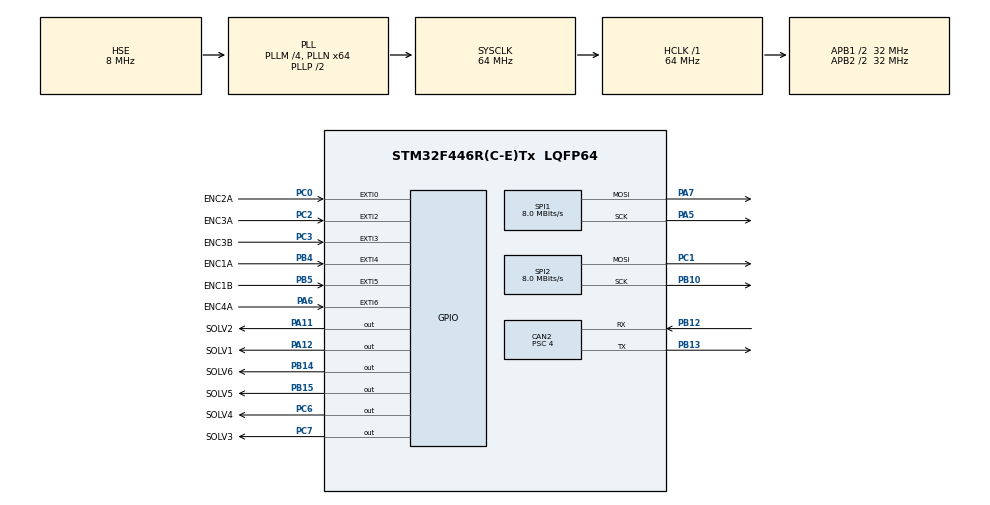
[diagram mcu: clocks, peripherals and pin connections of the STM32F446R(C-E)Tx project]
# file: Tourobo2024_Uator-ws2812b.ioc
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CAN2.BS1=CAN_BS1_11TQ
CAN2.BS2=CAN_BS2_4TQ
CAN2.CalculateBaudRate=500000
CAN2.CalculateTimeBit=2000
CAN2.CalculateTimeQuantum=125.0
CAN2.Prescaler=4
CAN2.SJW=CAN_SJW_1TQ
Mcu.Family=STM32F4
Mcu.Name=STM32F446R(C-E)Tx
Mcu.Package=LQFP64
NVIC.CAN2_RX0_IRQn=true\:0\:0\:false\:false\:true\:true\:true\:true
NVIC.EXTI0_IRQn=true\:1\:0\:true\:false\:true\:true\:true\:true
NVIC.EXTI2_IRQn=true\:1\:0\:true\:false\:true\:true\:true\:true
NVIC.EXTI3_IRQn=true\:1\:0\:true\:false\:true\:true\:true\:true
NVIC.EXTI4_IRQn=true\:1\:0\:true\:false\:true\:true\:true\:true
NVIC.EXTI9_5_IRQn=true\:1\:0\:true\:false\:true\:true\:true\:true
NVIC.PriorityGroup=NVIC_PRIORITYGROUP_4
PA11.GPIO_Label=SOLV2
PA11.Signal=GPIO_Output
PA12.GPIO_Label=SOLV1
PA12.Signal=GPIO_Output
PA13.Mode=Serial_Wire
PA13.Signal=SYS_JTMS-SWDIO
PA14.Mode=Serial_Wire
PA14.Signal=SYS_JTCK-SWCLK
PA5.Mode=TX_Only_Simplex_Unidirect_Master
PA5.Signal=SPI1_SCK
PA6.GPIO_Label=ENC4A
PA6.GPIO_ModeDefaultEXTI=GPIO_MODE_IT_RISING_FALLING
PA6.Signal=GPXTI6
PA7.Mode=TX_Only_Simplex_Unidirect_Master
PA7.Signal=SPI1_MOSI
PB10.Mode=TX_Only_Simplex_Unidirect_Master
PB10.Signal=SPI2_SCK
PB12.Mode=CAN_Activate
PB12.Signal=CAN2_RX
PB13.Mode=CAN_Activate
PB13.Signal=CAN2_TX
PB14.GPIO_Label=SOLV6
PB14.Signal=GPIO_Output
PB15.GPIO_Label=SOLV5
PB15.Signal=GPIO_Output
PB4.GPIO_Label=ENC1A
PB4.GPIO_ModeDefaultEXTI=GPIO_MODE_IT_RISING_FALLING
PB4.Signal=GPXTI4
PB5.GPIO_Label=ENC1B
PB5.GPIO_ModeDefaultEXTI=GPIO_MODE_IT_RISING_FALLING
PB5.Signal=GPXTI5
PC0.GPIO_Label=ENC2A
PC0.GPIO_ModeDefaultEXTI=GPIO_MODE_IT_RISING_FALLING
PC0.Signal=GPXTI0
PC1.Mode=TX_Only_Simplex_Unidirect_Master
PC1.Signal=SPI2_MOSI
PC2.GPIO_Label=ENC3A
PC2.GPIO_ModeDefaultEXTI=GPIO_MODE_IT_RISING_FALLING
PC2.Signal=GPXTI2
PC3.GPIO_Label=ENC3B
PC3.GPIO_ModeDefaultEXTI=GPIO_MODE_IT_RISING_FALLING
PC3.Signal=GPXTI3
PC6.GPIO_Label=SOLV4
PC6.Signal=GPIO_Output
PC7.GPIO_Label=SOLV3
PC7.Signal=GPIO_Output
PH0-OSC_IN.Mode=HSE-External-Clock-Source
PH0-OSC_IN.Signal=RCC_OSC_IN
PH1-OSC_OUT.Mode=HSE-External-Clock-Source
PH1-OSC_OUT.Signal=RCC_OSC_OUT
ProjectManager.HeapSize=0x200
ProjectManager.StackSize=0x400
ProjectManager.TargetToolchain=STM32CubeIDE
RCC.AHBFreq_Value=64000000
RCC.APB1CLKDivider=RCC_HCLK_DIV2
RCC.APB1Freq_Value=32000000
RCC.APB1TimFreq_Value=64000000
RCC.APB2CLKDivider=RCC_HCLK_DIV2
RCC.APB2Freq_Value=32000000
RCC.APB2TimFreq_Value=64000000
RCC.CortexFreq_Value=64000000
RCC.HCLKFreq_Value=64000000
RCC.HSE_VALUE=8000000
RCC.PLLM=4
RCC.PLLN=64
RCC.PLLSourceVirtual=RCC_PLLSOURCE_HSE
RCC.SYSCLKFreq_VALUE=64000000
RCC.SYSCLKSource=RCC_SYSCLKSOURCE_PLLCLK
RCC.USBFreq_Value=64000000
RCC.VCOOutputFreq_Value=128000000
SPI1.BaudRatePrescaler=SPI_BAUDRATEPRESCALER_4
SPI1.CalculateBaudRate=8.0 MBits/s
SPI1.Direction=SPI_DIRECTION_2LINES
SPI1.Mode=SPI_MODE_MASTER
SPI1.VirtualType=VM_MASTER
SPI2.BaudRatePrescaler=SPI_BAUDRATEPRESCALER_4
SPI2.CalculateBaudRate=8.0 MBits/s
SPI2.Direction=SPI_DIRECTION_2LINES
SPI2.Mode=SPI_MODE_MASTER
SPI2.VirtualType=VM_MASTER
TIM7.Period=1000-1
TIM7.Prescaler=32-1
VP_TIM7_VS_ClockSourceINT.Mode=Enable_Timer
board=custom

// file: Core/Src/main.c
/* USER CODE BEGIN Header */
/**LedUator用のプログラ?��?
 * 2024/09/03?��?新パンタ仕様に変更
 * 2024/09/05 パンタの縮伸,LEDのみを制御するように変更
  ******************************************************************************
  * @file           : main.c
  * @brief          : Main program body
  ******************************************************************************
  * @attention
  *
  * Copyright (c) 2024 STMicroelectronics.
  * All rights reserved.
  *
  * This software is licensed under terms that can be found in the LICENSE file
  * in the root directory of this software component.
  * If no LICENSE file comes with this software, it is provided AS-IS.
  *
  ******************************************************************************
  */
/* USER CODE END Header */
#include "main.h"

/* USER CODE BEGIN PD */
#define LED_NUMBER 150
#define GREEN_LED_NUMBER 50
/* USER CODE END PD */

CAN_HandleTypeDef hcan2;

SPI_HandleTypeDef hspi1;
SPI_HandleTypeDef hspi2;

TIM_HandleTypeDef htim7;

/* USER CODE BEGIN PV */
//for can
uint32_t id;
uint32_t dlc;
uint8_t data[8];
uint8_t failure = 0;

////for solenoid
//uint8_t solenoid[6] = {};

//fot panta
uint8_t panta_expand=0;
uint8_t panta_dunk=0;

//for LED
uint8_t LED_Data[3] = {};
uint32_t color;
uint32_t color_1;
uint32_t color_2;
uint32_t red = 0 << 16 | 140 << 8 | 0;
uint32_t orange = 9 << 16 | 140 << 8 | 0;
uint32_t yellow = 140 << 16 | 140 << 8 | 0;
uint32_t green = 140 << 16 | 0 << 8 | 0;
uint32_t light_blue =  140 << 16 | 0 << 8 | 140;
uint32_t blue = 0 << 16 | 0 << 8 | 140;
uint32_t purple = 0 << 16 | 140 << 8 | 140;
uint32_t white = 140 << 16 | 140 << 8 | 140;
uint32_t black = 0 << 16 | 0 << 8 | 0;
uint8_t bicolorData[24*LED_NUMBER];
uint8_t rainbowData[24*LED_NUMBER];
//for solenoid
GPIO_TypeDef* solv_ports[6] = {SOLV1_GPIO_Port, SOLV2_GPIO_Port, SOLV3_GPIO_Port, SOLV4_GPIO_Port, SOLV5_GPIO_Port, SOLV6_GPIO_Port};
uint16_t solv_pins[6] = {SOLV1_Pin, SOLV2_Pin, SOLV3_Pin, SOLV4_Pin, SOLV5_Pin, SOLV6_Pin};
/* USER CODE END PV */

void SystemClock_Config(void);
static void MX_GPIO_Init(void);
static void MX_CAN2_Init(void);
static void MX_SPI2_Init(void);
static void MX_SPI1_Init(void);
static void MX_TIM7_Init(void);
/* USER CODE BEGIN PFP */
void wait_290us(void);
void wait_50ms(void);
void ws2812b_send(void);
void ws2812b_send_green (void);
void ws2812b_bicolor(void);
void ws2812b_rainbow(void);
void rainbow_flow();
/* USER CODE END PFP */

/* USER CODE BEGIN 0 */
void HAL_CAN_RxFifo0MsgPendingCallback(CAN_HandleTypeDef *hcan) {

	if(hcan == &hcan2){
		CAN_RxHeaderTypeDef RxHeader;
		uint8_t RxData[2];
		if (HAL_CAN_GetRxMessage(hcan, CAN_RX_FIFO0, &RxHeader, RxData) == HAL_OK) {

			id = (RxHeader.IDE == CAN_ID_STD) ? RxHeader.StdId : RxHeader.ExtId;   // ID
			dlc = RxHeader.DLC;                                                   // DLC
			data[0] = RxData[0];                                                 // Data
			data[1] = RxData[1];

			panta_expand  =  data[0];//0 or 1

			if(panta_expand==0){
				HAL_GPIO_WritePin(solv_ports[0],solv_pins[0],GPIO_PIN_RESET);//panta off
			}else{
				HAL_GPIO_WritePin(solv_ports[0],solv_pins[0],GPIO_PIN_SET);//panta on
			}

		}
	}
}

/* USER CODE END 0 */

int main(void)
{

  /* MCU Configuration--------------------------------------------------------*/

  /* Reset of all peripherals, Initializes the Flash interface and the Systick. */
  HAL_Init();

  /* Configure the system clock */
  SystemClock_Config();

  /* Initialize all configured peripherals */
  MX_GPIO_Init();
  MX_CAN2_Init();
  MX_SPI2_Init();
  MX_SPI1_Init();
  MX_TIM7_Init();
  /* USER CODE BEGIN 2 */
  //TIM
  HAL_TIM_Base_Start(&htim7);
  //CAN
  HAL_CAN_Start(&hcan2);
  HAL_CAN_ActivateNotification(&hcan2, CAN_IT_RX_FIFO0_MSG_PENDING);

  CAN_FilterTypeDef filter;
  uint32_t fId   =  0x200 << 21;        // フィルターID
  uint32_t fMask = (0x7F0 << 21) | 0x4; // フィルターマスク

  filter.FilterIdHigh         = fId >> 16;             // フィルターIDの上�?16ビッ????��?��??��?��???��?��??��?��?
  filter.FilterIdLow          = fId;                   // フィルターIDの下�?16ビッ????��?��??��?��???��?��??��?��?
  filter.FilterMaskIdHigh     = fMask >> 16;           // フィルターマスクの上�?16ビッ????��?��??��?��???��?��??��?��?
  filter.FilterMaskIdLow      = fMask;                 // フィルターマスクの下�?16ビッ????��?��??��?��???��?��??��?��?
  filter.FilterScale          = CAN_FILTERSCALE_32BIT; // 32モー????��?��??��?��???��?��??��?��?
  filter.FilterFIFOAssignment = CAN_FILTER_FIFO0;      // FIFO0へ格????��?��??��?��???��?��??��?��?
  filter.FilterBank           = 0;
  filter.FilterMode           = CAN_FILTERMODE_IDMASK; // IDマスクモー????��?��??��?��???��?��??��?��?
  filter.SlaveStartFilterBank = 0;
  filter.FilterActivation     = ENABLE;

  HAL_CAN_ConfigFilter(&hcan2, &filter);

  /* USER CODE END 2 */

  /* Infinite loop */
  /* USER CODE BEGIN WHILE */
  while (1)
  {
	  ws2812b_send_green ();

	  for(int i=0; i<10; i++){
		switch(data[1]){

		case 0:
			color_1 = red;
			color_2 = black;
			ws2812b_bicolor();
			break;

		case 1:
			color_1 = orange;
			color_2 = black;
			ws2812b_bicolor();
			break;

		case 2:
			color_1 = yellow;
			color_2 = black;
			ws2812b_bicolor();
			break;

		case 3:
			color = green;
			color_2 = black;
			ws2812b_bicolor();
			break;

		case 4:
			color_1 = light_blue;
			color_2 = black;
			ws2812b_bicolor();
			break;

		case 5:
			color_1 = red;
			color_2 = blue;
			ws2812b_bicolor();
			break;

		case 6:
			color_1 = orange;
			color_2 = light_blue;
			ws2812b_bicolor();
			break;

		case 7:
			color_1 = blue;
			color_2 = black;
			ws2812b_bicolor();
			break;

		case 8:
			color_1 = purple;
			color_2 = black;
			ws2812b_bicolor();
			break;

		case 9:
			color_1 = white;
			color_2 = black;
			ws2812b_bicolor();
			break;

		case 10:
			ws2812b_rainbow();
			break;

		case 11:
			rainbow_flow();
			break;

		}
	}

    /* USER CODE END WHILE */

  }
}

void SystemClock_Config(void)
{
  RCC_OscInitTypeDef RCC_OscInitStruct = {0};
  RCC_ClkInitTypeDef RCC_ClkInitStruct = {0};

  /** Configure the main internal regulator output voltage
  */
  __HAL_RCC_PWR_CLK_ENABLE();
  __HAL_PWR_VOLTAGESCALING_CONFIG(PWR_REGULATOR_VOLTAGE_SCALE3);

  /** Initializes the RCC Oscillators according to the specified parameters
  * in the RCC_OscInitTypeDef structure.
  */
  RCC_OscInitStruct.OscillatorType = RCC_OSCILLATORTYPE_HSE;
  RCC_OscInitStruct.HSEState = RCC_HSE_BYPASS;
  RCC_OscInitStruct.PLL.PLLState = RCC_PLL_ON;
  RCC_OscInitStruct.PLL.PLLSource = RCC_PLLSOURCE_HSE;
  RCC_OscInitStruct.PLL.PLLM = 4;
  RCC_OscInitStruct.PLL.PLLN = 64;
  RCC_OscInitStruct.PLL.PLLP = RCC_PLLP_DIV2;
  RCC_OscInitStruct.PLL.PLLQ = 2;
  RCC_OscInitStruct.PLL.PLLR = 2;
  if (HAL_RCC_OscConfig(&RCC_OscInitStruct) != HAL_OK)
  {
    Error_Handler();
  }

  /** Initializes the CPU, AHB and APB buses clocks
  */
  RCC_ClkInitStruct.ClockType = RCC_CLOCKTYPE_HCLK|RCC_CLOCKTYPE_SYSCLK
                              |RCC_CLOCKTYPE_PCLK1|RCC_CLOCKTYPE_PCLK2;
  RCC_ClkInitStruct.SYSCLKSource = RCC_SYSCLKSOURCE_PLLCLK;
  RCC_ClkInitStruct.AHBCLKDivider = RCC_SYSCLK_DIV1;
  RCC_ClkInitStruct.APB1CLKDivider = RCC_HCLK_DIV2;
  RCC_ClkInitStruct.APB2CLKDivider = RCC_HCLK_DIV2;

  if (HAL_RCC_ClockConfig(&RCC_ClkInitStruct, FLASH_LATENCY_2) != HAL_OK)
  {
    Error_Handler();
  }
}

static void MX_CAN2_Init(void)
{

  hcan2.Instance = CAN2;
  hcan2.Init.Prescaler = 4;
  hcan2.Init.Mode = CAN_MODE_NORMAL;
  hcan2.Init.SyncJumpWidth = CAN_SJW_1TQ;
  hcan2.Init.TimeSeg1 = CAN_BS1_11TQ;
  hcan2.Init.TimeSeg2 = CAN_BS2_4TQ;
  hcan2.Init.TimeTriggeredMode = DISABLE;
  hcan2.Init.AutoBusOff = DISABLE;
  hcan2.Init.AutoWakeUp = DISABLE;
  hcan2.Init.AutoRetransmission = DISABLE;
  hcan2.Init.ReceiveFifoLocked = DISABLE;
  hcan2.Init.TransmitFifoPriority = DISABLE;
  if (HAL_CAN_Init(&hcan2) != HAL_OK)
  {
    Error_Handler();
  }

}

static void MX_SPI1_Init(void)
{

  /* SPI1 parameter configuration*/
  hspi1.Instance = SPI1;
  hspi1.Init.Mode = SPI_MODE_MASTER;
  hspi1.Init.Direction = SPI_DIRECTION_2LINES;
  hspi1.Init.DataSize = SPI_DATASIZE_8BIT;
  hspi1.Init.CLKPolarity = SPI_POLARITY_LOW;
  hspi1.Init.CLKPhase = SPI_PHASE_1EDGE;
  hspi1.Init.NSS = SPI_NSS_SOFT;
  hspi1.Init.BaudRatePrescaler = SPI_BAUDRATEPRESCALER_4;
  hspi1.Init.FirstBit = SPI_FIRSTBIT_MSB;
  hspi1.Init.TIMode = SPI_TIMODE_DISABLE;
  hspi1.Init.CRCCalculation = SPI_CRCCALCULATION_DISABLE;
  hspi1.Init.CRCPolynomial = 10;
  if (HAL_SPI_Init(&hspi1) != HAL_OK)
  {
    Error_Handler();
  }

}

static void MX_SPI2_Init(void)
{

  /* SPI2 parameter configuration*/
  hspi2.Instance = SPI2;
  hspi2.Init.Mode = SPI_MODE_MASTER;
  hspi2.Init.Direction = SPI_DIRECTION_2LINES;
  hspi2.Init.DataSize = SPI_DATASIZE_8BIT;
  hspi2.Init.CLKPolarity = SPI_POLARITY_LOW;
  hspi2.Init.CLKPhase = SPI_PHASE_1EDGE;
  hspi2.Init.NSS = SPI_NSS_SOFT;
  hspi2.Init.BaudRatePrescaler = SPI_BAUDRATEPRESCALER_4;
  hspi2.Init.FirstBit = SPI_FIRSTBIT_MSB;
  hspi2.Init.TIMode = SPI_TIMODE_DISABLE;
  hspi2.Init.CRCCalculation = SPI_CRCCALCULATION_DISABLE;
  hspi2.Init.CRCPolynomial = 10;
  if (HAL_SPI_Init(&hspi2) != HAL_OK)
  {
    Error_Handler();
  }

}

static void MX_TIM7_Init(void)
{

  TIM_MasterConfigTypeDef sMasterConfig = {0};

  htim7.Instance = TIM7;
  htim7.Init.Prescaler = 32-1;
  htim7.Init.CounterMode = TIM_COUNTERMODE_UP;
  htim7.Init.Period = 1000-1;
  htim7.Init.AutoReloadPreload = TIM_AUTORELOAD_PRELOAD_DISABLE;
  if (HAL_TIM_Base_Init(&htim7) != HAL_OK)
  {
    Error_Handler();
  }
  sMasterConfig.MasterOutputTrigger = TIM_TRGO_RESET;
  sMasterConfig.MasterSlaveMode = TIM_MASTERSLAVEMODE_DISABLE;
  if (HAL_TIMEx_MasterConfigSynchronization(&htim7, &sMasterConfig) != HAL_OK)
  {
    Error_Handler();
  }

}

static void MX_GPIO_Init(void)
{
  GPIO_InitTypeDef GPIO_InitStruct = {0};

  /* GPIO Ports Clock Enable */
  __HAL_RCC_GPIOH_CLK_ENABLE();
  __HAL_RCC_GPIOC_CLK_ENABLE();
  __HAL_RCC_GPIOA_CLK_ENABLE();
  __HAL_RCC_GPIOB_CLK_ENABLE();

  /*Configure GPIO pin Output Level */
  HAL_GPIO_WritePin(GPIOB, SOLV6_Pin|SOLV5_Pin, GPIO_PIN_RESET);

  /*Configure GPIO pin Output Level */
  HAL_GPIO_WritePin(GPIOC, SOLV4_Pin|SOLV3_Pin, GPIO_PIN_RESET);

  /*Configure GPIO pin Output Level */
  HAL_GPIO_WritePin(GPIOA, SOLV2_Pin|SOLV1_Pin, GPIO_PIN_RESET);

  /*Configure GPIO pins : ENC2A_Pin ENC3A_Pin ENC3B_Pin */
  GPIO_InitStruct.Pin = ENC2A_Pin|ENC3A_Pin|ENC3B_Pin;
  GPIO_InitStruct.Mode = GPIO_MODE_IT_RISING_FALLING;
  GPIO_InitStruct.Pull = GPIO_NOPULL;
  HAL_GPIO_Init(GPIOC, &GPIO_InitStruct);

  /*Configure GPIO pin : ENC4A_Pin */
  GPIO_InitStruct.Pin = ENC4A_Pin;
  GPIO_InitStruct.Mode = GPIO_MODE_IT_RISING_FALLING;
  GPIO_InitStruct.Pull = GPIO_NOPULL;
  HAL_GPIO_Init(ENC4A_GPIO_Port, &GPIO_InitStruct);

  /*Configure GPIO pins : SOLV6_Pin SOLV5_Pin */
  GPIO_InitStruct.Pin = SOLV6_Pin|SOLV5_Pin;
  GPIO_InitStruct.Mode = GPIO_MODE_OUTPUT_PP;
  GPIO_InitStruct.Pull = GPIO_NOPULL;
  GPIO_InitStruct.Speed = GPIO_SPEED_FREQ_LOW;
  HAL_GPIO_Init(GPIOB, &GPIO_InitStruct);

  /*Configure GPIO pins : SOLV4_Pin SOLV3_Pin */
  GPIO_InitStruct.Pin = SOLV4_Pin|SOLV3_Pin;
  GPIO_InitStruct.Mode = GPIO_MODE_OUTPUT_PP;
  GPIO_InitStruct.Pull = GPIO_NOPULL;
  GPIO_InitStruct.Speed = GPIO_SPEED_FREQ_LOW;
  HAL_GPIO_Init(GPIOC, &GPIO_InitStruct);

  /*Configure GPIO pins : SOLV2_Pin SOLV1_Pin */
  GPIO_InitStruct.Pin = SOLV2_Pin|SOLV1_Pin;
  GPIO_InitStruct.Mode = GPIO_MODE_OUTPUT_PP;
  GPIO_InitStruct.Pull = GPIO_NOPULL;
  GPIO_InitStruct.Speed = GPIO_SPEED_FREQ_LOW;
  HAL_GPIO_Init(GPIOA, &GPIO_InitStruct);

  /*Configure GPIO pins : ENC1A_Pin ENC1B_Pin */
  GPIO_InitStruct.Pin = ENC1A_Pin|ENC1B_Pin;
  GPIO_InitStruct.Mode = GPIO_MODE_IT_RISING_FALLING;
  GPIO_InitStruct.Pull = GPIO_NOPULL;
  HAL_GPIO_Init(GPIOB, &GPIO_InitStruct);

  /* EXTI interrupt init*/
  HAL_NVIC_SetPriority(EXTI0_IRQn, 1, 0);
  HAL_NVIC_EnableIRQ(EXTI0_IRQn);

  HAL_NVIC_SetPriority(EXTI2_IRQn, 1, 0);
  HAL_NVIC_EnableIRQ(EXTI2_IRQn);

  HAL_NVIC_SetPriority(EXTI3_IRQn, 1, 0);
  HAL_NVIC_EnableIRQ(EXTI3_IRQn);

  HAL_NVIC_SetPriority(EXTI4_IRQn, 1, 0);
  HAL_NVIC_EnableIRQ(EXTI4_IRQn);

  HAL_NVIC_SetPriority(EXTI9_5_IRQn, 1, 0);
  HAL_NVIC_EnableIRQ(EXTI9_5_IRQn);

}

/* USER CODE BEGIN 4 */
void wait_290us(){
	htim7.Instance->CNT = 0;
	while((htim7.Instance->CNT)<290);
}

void wait_50ms(){
	for(int i=0; i<50; i++){
		htim7.Instance->CNT = 0;
		while((htim7.Instance->CNT)<999);
	}
}

void ws2812b_send ()
{
	uint8_t sendData[24*LED_NUMBER];

	for(int i=0; i<LED_NUMBER; i++){
		for(int j=0; j<24; j++){
			if (((color>>(23-j))&0x01) == 1) {
				sendData[i*24 + j] = 0b11111000;  // store 1
			}
			else{
				sendData[i*24 + j] = 0b11000000;  // store 0
			}
		}
	}

	HAL_SPI_Transmit(&hspi2, sendData, 24*LED_NUMBER, 1000);
	wait_290us();
}

void ws2812b_send_green ()
{
	uint32_t color = 153<<16 | 0<<8 | 0;
	uint8_t sendData[24*LED_NUMBER];

	for(int i=0; i<LED_NUMBER; i++){
		for(int j=0; j<24; j++){
			if (((color>>(23-j))&0x01) == 1) {
				sendData[i*24 + j] = 0b11111000;  // store 1
			}
			else{
				sendData[i*24 + j] = 0b11000000;  // store 0
			}
		}
	}

	HAL_SPI_Transmit(&hspi1, sendData, 24*LED_NUMBER, 1000);
	wait_290us();
}

void ws2812b_bicolor(){

	for(int i=0; i<LED_NUMBER; i++){
		for(int j=0; j<24; j++){
			int remainder = i%2;
			switch(remainder){
			case 0:
				if (((color_1>>(23-j))&0x01) == 1) {
					bicolorData[i*24 + j] = 0b11111000;  // store 1
				}
				else{
					bicolorData[i*24 + j] = 0b11000000;  // store 0
				}
				break;
			case 1:
				if (((color_2>>(23-j))&0x01) == 1) {
					bicolorData[i*24 + j] = 0b11111000;  // store 1
				}
				else{
					bicolorData[i*24 + j] = 0b11000000;  // store 0
				}
				break;
			}
		}
	}

	HAL_SPI_Transmit(&hspi2, bicolorData, 24*LED_NUMBER, 1000);
	wait_290us();
}

void ws2812b_rainbow(){
	for(int i=0; i<LED_NUMBER; i++){
		for(int j=0; j<24; j++){
			int remainder = i%7;

			switch(remainder){

			case 0:
				if (((red>>(23-j))&0x01) == 1) {
					rainbowData[i*24 + j] = 0b11111000;  // store 1
				}
				else{
					rainbowData[i*24 + j] = 0b11000000;  // store 0
				}
				break;

			case 1:
				if (((orange>>(23-j))&0x01) == 1) {
					rainbowData[i*24 + j] = 0b11111000;  // store 1
				}
				else{
					rainbowData[i*24 + j] = 0b11000000;  // store 0
				}
				break;

			case 2:
				if (((yellow>>(23-j))&0x01) == 1) {
					rainbowData[i*24 + j] = 0b11111000;  // store 1
				}
				else{
					rainbowData[i*24 + j] = 0b11000000;  // store 0
				}
				break;

			case 3:
				if (((green>>(23-j))&0x01) == 1) {
					rainbowData[i*24 + j] = 0b11111000;  // store 1
				}
				else{
					rainbowData[i*24 + j] = 0b11000000;  // store 0
				}
				break;

			case 4:
				if (((light_blue>>(23-j))&0x01) == 1) {
					rainbowData[i*24 + j] = 0b11111000;  // store 1
				}
				else{
					rainbowData[i*24 + j] = 0b11000000;  // store 0
				}
				break;

			case 5:
				if (((blue>>(23-j))&0x01) == 1) {
					rainbowData[i*24 + j] = 0b11111000;  // store 1
				}
				else{
					rainbowData[i*24 + j] = 0b11000000;  // store 0
				}
				break;

			case 6:
				if (((purple>>(23-j))&0x01) == 1) {
					rainbowData[i*24 + j] = 0b11111000;  // store 1
				}
				else{
					rainbowData[i*24 + j] = 0b11000000;  // store 0
				}
				break;
			}
		}
	}

	HAL_SPI_Transmit(&hspi2, rainbowData, 24*LED_NUMBER, 1000);
	wait_290us();
}

void rainbow_flow(){

	uint8_t hold[24] = {0};

	for(int i=0; i<24; i++){
		hold[i] = rainbowData[i];
	}

	for(int i=0; i<24*(LED_NUMBER-1); i++){
		rainbowData[i] = rainbowData[i+24];
	}

	for(int i=0; i<24; i++){
		rainbowData[24*(LED_NUMBER-1)+i] = hold[i];
	}

	HAL_SPI_Transmit(&hspi2, rainbowData, 24*LED_NUMBER, 1000);
	wait_50ms();

}
/* USER CODE END 4 */

void Error_Handler(void)
{
  __disable_irq();
  while (1)
  {
  }
}
